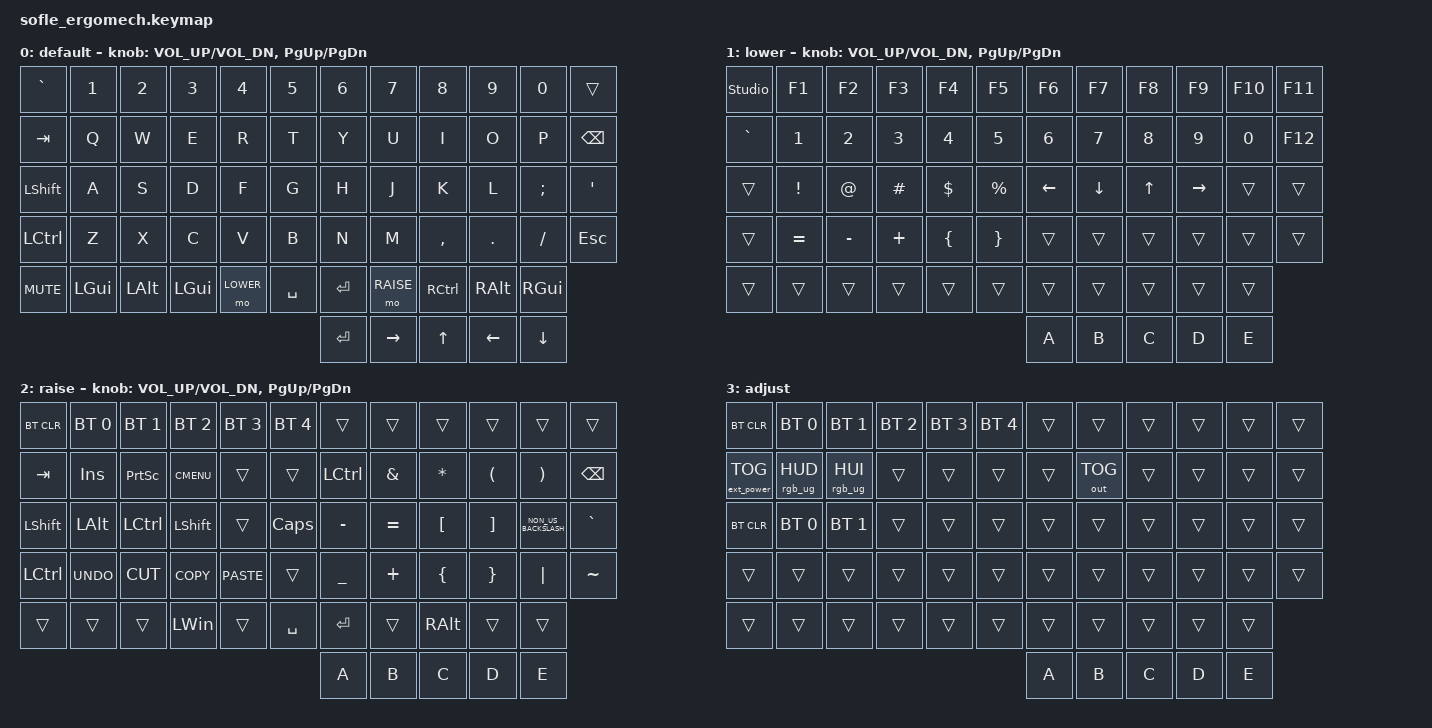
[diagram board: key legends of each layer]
/*
 * Copyright (c) 2020 The ZMK Contributors
 *
 * SPDX-License-Identifier: MIT
 */

#include <behaviors.dtsi>
#include <dt-bindings/zmk/bt.h>
#include <dt-bindings/zmk/ext_power.h>
#include <dt-bindings/zmk/keys.h>
#include <dt-bindings/zmk/outputs.h>
#include <dt-bindings/zmk/rgb.h>

#define BASE 0
#define LOWER 1
#define RAISE 2
#define ADJUST 3

/ {
    // Activate ADJUST layer by pressing raise and lower

    conditional_layers {
        compatible = "zmk,conditional-layers";

        adjust_layer {
            if-layers = <LOWER RAISE>;
            then-layer = <ADJUST>;
        };
    };

    keymap {
        compatible = "zmk,keymap";

        default_layer {
            label = "default";

            // ------------------------------------------------------------------------------------------------------------
            // |   `   |  1  |  2  |  3   |  4   |  5   |                   |  6   |  7    |  8    |  9   |   0   |       |
            // |  ESC  |  Q  |  W  |  E   |  R   |  T   |                   |  Y   |  U    |  I    |  O   |   P   | BKSPC |
            // |  TAB  |  A  |  S  |  D   |  F   |  G   |                   |  H   |  J    |  K    |  L   |   ;   |   '   |
            // | SHIFT |  Z  |  X  |  C   |  V   |  B   |  MUTE  |  |       |  N   |  M    |  ,    |  .   |   /   | SHIFT |
            //               | GUI | ALT  | CTRL | LOWER|  ENTER |  | SPACE | RAISE| CTRL  | ALT   | GUI  |

            bindings = <
&kp GRAVE       &kp N1    &kp N2    &kp N3        &kp N4     &kp N5     &kp N6      &kp N7     &kp N8        &kp N9    &kp N0    &trans
&kp TAB         &kp Q     &kp W     &kp E         &kp R      &kp T      &kp Y       &kp U      &kp I         &kp O     &kp P     &kp BSPC
&kp LEFT_SHIFT  &kp A     &kp S     &kp D         &kp F      &kp G      &kp H       &kp J      &kp K         &kp L     &kp SEMI  &kp SQT
&kp LCTRL       &kp Z     &kp X     &kp C         &kp V      &kp B      &kp N       &kp M      &kp COMMA     &kp DOT   &kp FSLH  &kp ESCAPE
&kp C_MUTE      &kp LGUI  &kp LALT  &kp LEFT_GUI  &mo LOWER  &kp SPACE  &kp RETURN  &mo RAISE  &kp RCTRL     &kp RALT  &kp RGUI
                                                                        &kp ENTER   &kp RIGHT  &kp UP_ARROW  &kp LEFT  &kp DOWN
            >;

            sensor-bindings = <&inc_dec_kp C_VOL_UP C_VOL_DN &inc_dec_kp PG_UP PG_DN>;
        };

        lower_layer {
            label = "lower";

            // TODO: Some binds are waiting for shifted keycode support.
            // ------------------------------------------------------------------------------------------------------------
            // |       |  F1 |  F2 |  F3  |  F4  |  F5  |                   |  F6  |  F7   |  F8   |  F9  |  F10  |  F11  |
            // |   `   |  1  |  2  |  3   |  4   |  5   |                   |  6   |  7    |  8    |  9   |   0   |  F12  |
            // |       |  !  |  @  |  #   |  $   |  %   |                   |  ^   |  &    |  *    |  (   |   )   |   |   |
            // |       |  =  |  -  |  +   |  {   |  }   |        |  |       |  [   |  ]    |  ;    |  :   |   \   |       |
            //               |     |      |      |      |        |  |       |      |       |       |      |

            bindings = <
&studio_unlock  &kp F1     &kp F2     &kp F3    &kp F4    &kp F5     &kp F6    &kp F7    &kp F8  &kp F9     &kp F10  &kp F11
&kp GRAVE       &kp N1     &kp N2     &kp N3    &kp N4    &kp N5     &kp N6    &kp N7    &kp N8  &kp N9     &kp N0   &kp F12
&trans          &kp EXCL   &kp AT     &kp HASH  &kp DLLR  &kp PRCNT  &kp LEFT  &kp DOWN  &kp UP  &kp RIGHT  &trans   &trans
&trans          &kp EQUAL  &kp MINUS  &kp PLUS  &kp LBRC  &kp RBRC   &trans    &trans    &trans  &trans     &trans   &trans
&trans          &trans     &trans     &trans    &trans    &trans     &trans    &trans    &trans  &trans     &trans
                                                                     &kp A     &kp B     &kp C   &kp D      &kp E
            >;

            sensor-bindings = <&inc_dec_kp C_VOL_UP C_VOL_DN &inc_dec_kp PG_UP PG_DN>;
        };

        raise_layer {
            label = "raise";

            // ------------------------------------------------------------------------------------------------------------
            // | BTCLR | BT1  | BT2  |  BT3  |  BT4  |  BT5 |                |      |      |       |      |       |       |
            // |       | INS  | PSCR | GUI   |       |      |                | PGUP |      |   ^   |      |       |       |
            // |       | ALT  | CTRL | SHIFT |       | CAPS |                | PGDN |   <- |   v   |  ->  |  DEL  | BKSPC |
            // |       | UNDO | CUT  | COPY  | PASTE |      |      |  |      |      |      |       |      |       |       |
            //                |      |       |       |      |      |  |      |      |      |       |      |

            bindings = <
&bt BT_CLR  &bt BT_SEL 0  &bt BT_SEL 1  &bt BT_SEL 2  &bt BT_SEL 3  &bt BT_SEL 4  &trans          &trans         &trans            &trans                &trans                 &trans
&kp TAB     &kp INS       &kp PSCRN     &kp K_CMENU   &trans        &trans        &kp LCTRL       &kp AMPERSAND  &kp ASTERISK      &kp LEFT_PARENTHESIS  &kp RIGHT_PARENTHESIS  &kp BACKSPACE
&kp LSHIFT  &kp LALT      &kp LCTRL     &kp LSHFT     &trans        &kp CLCK      &kp MINUS       &kp EQUAL      &kp LEFT_BRACKET  &kp RIGHT_BRACKET     &kp NON_US_BACKSLASH   &kp GRAVE
&kp LCTRL   &kp K_UNDO    &kp K_CUT     &kp K_COPY    &kp K_PASTE   &trans        &kp UNDERSCORE  &kp PLUS       &kp LEFT_BRACE    &kp RIGHT_BRACE       &kp PIPE               &kp TILDE
&trans      &trans        &trans        &kp LEFT_WIN  &trans        &kp SPACE     &kp ENTER       &trans         &kp RIGHT_ALT     &trans                &trans
                                                                                  &kp A           &kp B          &kp C             &kp D                 &kp E
            >;

            sensor-bindings = <&inc_dec_kp C_VOL_UP C_VOL_DN &inc_dec_kp PG_UP PG_DN>;
        };

        adjust_layer {
            // ----------------------------------------------------------------------------------------------------------------------------
            // | BTCLR  |  BT1    |  BT2    |   BT3   |   BT4   |   BT5   |                  |      |      |       |      |       |       |
            // | EXTPWR | RGB_HUD | RGB_HUI | RGB_SAD | RGB_SAI | RGB_EFF |                  |      |      |       |      |       |       |
            // |        | RGB_BRD | RGB_BRI |         |         |         |                  |      |      |       |      |       |       |
            // |        |         |         |         |         |         | RGB_TOG | |      |      |      |       |      |       |       |
            //                    |         |         |         |         |         | |      |      |      |       |      |

            label = "adjust";
            bindings = <
&bt BT_CLR         &bt BT_SEL 0     &bt BT_SEL 1     &bt BT_SEL 2  &bt BT_SEL 3  &bt BT_SEL 4  &trans &trans        &trans &trans &trans &trans
&ext_power EP_TOG  &rgb_ug RGB_HUD  &rgb_ug RGB_HUI  &trans        &trans        &trans        &trans &out OUT_TOG  &trans &trans &trans &trans
&bt BT_CLR         &bt BT_SEL 0     &bt BT_SEL 1     &trans        &trans        &trans        &trans &trans        &trans &trans &trans &trans
&trans             &trans           &trans           &trans        &trans        &trans        &trans &trans        &trans &trans &trans &trans
&trans             &trans           &trans           &trans        &trans        &trans        &trans &trans        &trans &trans &trans
                                                                                               &kp A  &kp B         &kp C  &kp D  &kp E
            >;
        };
    };
};
